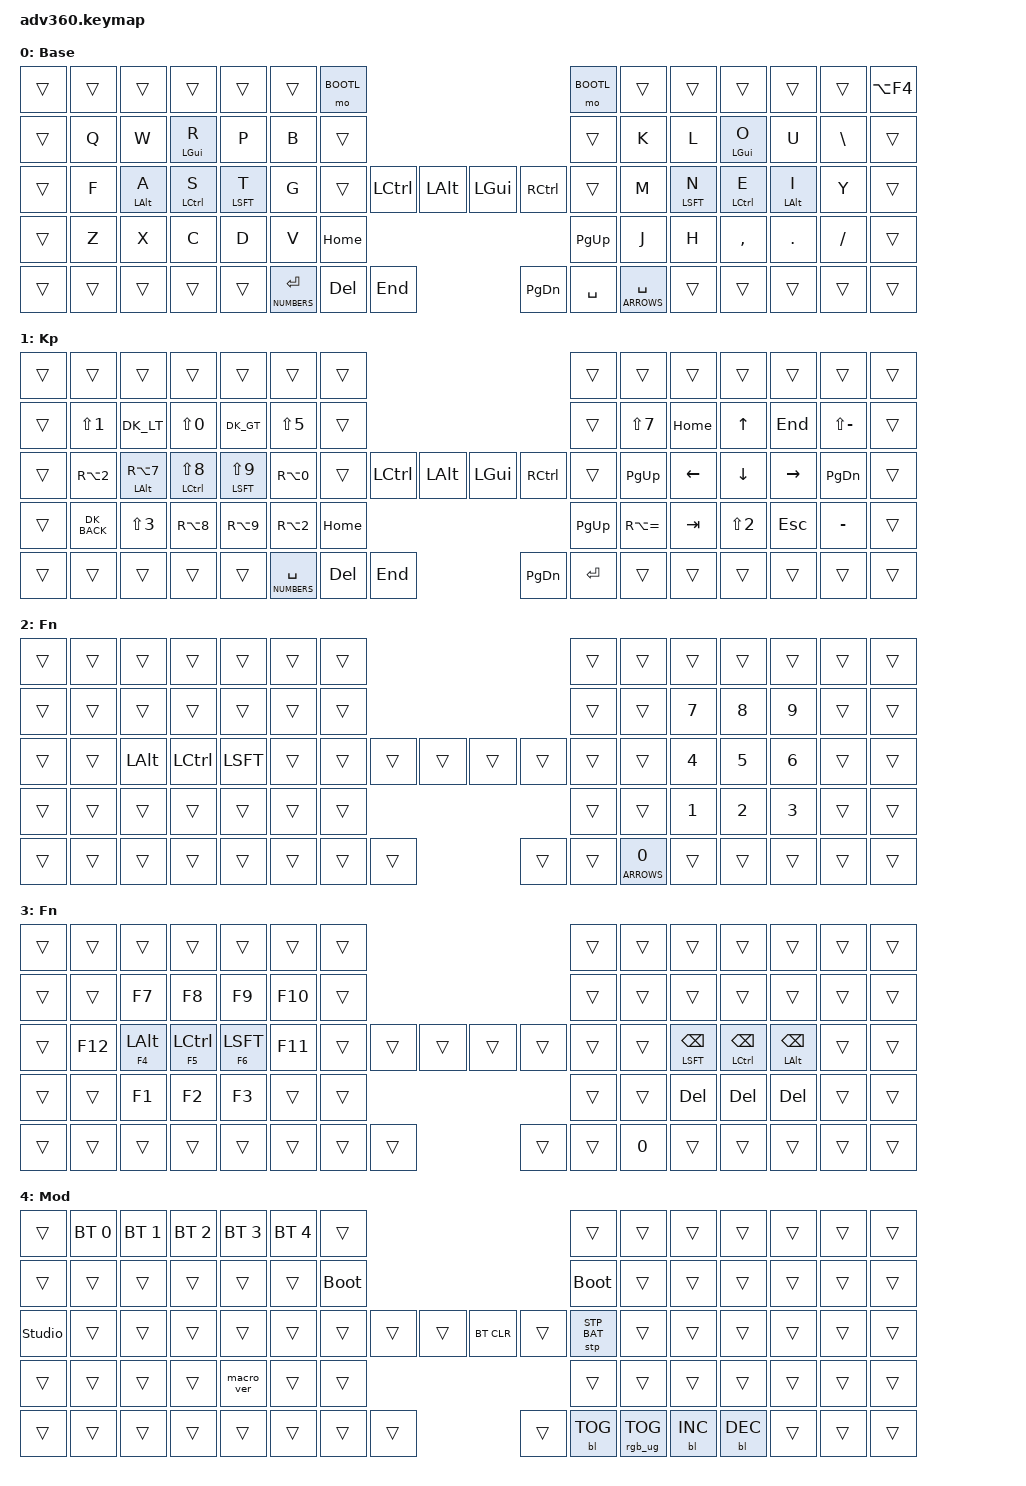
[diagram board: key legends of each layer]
#include <behaviors.dtsi>
#include <dt-bindings/zmk/keys.h>
#include <dt-bindings/zmk/bt.h>
#include <dt-bindings/zmk/rgb.h>
#include <dt-bindings/zmk/stp.h>
#include <dt-bindings/zmk/backlight.h>
#include <dt-bindings/zmk/pointing.h>
#include "aliases.h"

/*

PAR_B
PAR_E
CUR_B
CUR_E
SQB_B
SQB_E 

*/
#define ______ &trans
// BSPC
#define BASE 0
#define ARROWS 1
#define NUMBERS 2 
#define DOUBLE 3 
#define BOOTL 4

/ {
    behaviors {
      #include "macros.dtsi"
      #include "version.dtsi"
      hm: homerow_mods {
          compatible = "zmk,behavior-hold-tap";
          label = "HOMEROW_MODS";
          #binding-cells = <2>;
          tapping-term-ms = <200>;
          quick_tap_ms = <175>;
          flavor = "tap-preferred";
          bindings = <&kp>, <&kp>;
      };

      combos {
        compatible = "zmk,combos";
        combo_j { timeout-ms = <50>; key-positions = <16 17>; bindings = <&kp J>; layers = <0>;};
        combo_v { timeout-ms = <50>; key-positions = <31 32>; bindings = <&kp V>;  layers = <0>;};
        combo_ae { timeout-ms = <50>; key-positions = <23 24>; bindings = <&kp SEMI>; layers = <0>; };
        combo_oe { timeout-ms = <50>; key-positions = <23 25>; bindings = <&kp SQT>;  layers = <0>; };
        combo_aa { timeout-ms = <50>; key-positions = <24 25>; bindings = <&kp LBKT>;  layers = <0>; };
        combo_dash { timeout-ms = <50>; key-positions = <39 40>; bindings = <&kp SLASH>; };
        combo_alt_f4 { timeout-ms = <50>; key-positions = <32 37>; bindings = <&kp LA(F4)>; layers = <0>; };
        combo_excl { timeout-ms = <50>; key-positions = <1 2>; bindings = <&kp LS(N1)>; layers = <1>; };
        combo_question { timeout-ms = <50>; key-positions = <23 24>; bindings = <&kp LS(MINUS)>; layers = <1>; };
      };

      conditional_layers {
        compatible = "zmk,conditional-layers";
        tri_layer {
          if-layers = <1 2>;
          then-layer = <3>;
        };
      };
    };

  keymap {
    compatible = "zmk,keymap";
    default_layer {
      display-name = "Base";
      bindings = <
        ______    ______    ______      ______      ______     ______ &mo BOOTL                                                          &mo BOOTL ______ ______      ______      ______      ______    &kp LA(F4) 
        ______    &kp Q     &kp W       &hm LGUI R  &kp P      &kp B  ______                                                             ______     &kp K  &kp L      &hm LGUI O  &kp U       &kp BSLH  ______
        ______    &kp F     &hm LALT A  &hm LCTL S  &hm LSFT T &kp G  ______           &kp LCTRL &kp LALT &kp LGUI  &kp RCTRL            ______     &kp M  &hm LSFT N &hm LCTL E  &hm LALT I  &kp Y     ______  
        ______    &kp Z     &kp X       &kp C       &kp D      &kp V                            &kp HOME &kp PG_UP                                  &kp J  &kp H      &kp COMMA   &kp DOT     &kp SLASH ______
        ______    ______    ______      ______      ______                &lt NUMBERS ENTER &kp DEL   &kp END  &kp PG_DN &kp SPACE &lt ARROWS SPACE      ______       ______      ______      ______    ______ 
      >;
    };
    
    arrows {
      display-name = "Kp";
      bindings = <
        ______ ______      ______           ______          ______          ______     ______                                                      ______ ______         ______    ______     ______    ______        ______ 
        ______ &kp LS(N1)  &kp DK_LT        &kp LS(N0)      &kp DK_GT       &kp LS(N5) ______                                                      ______ &kp LS(N7)     &kp HOME  &kp UP     &kp END   &kp LS(MINUS) ______ 
        ______ &kp RA(N2)  &hm LALT RA(N7)  &hm LCTL LS(N8) &hm LSFT LS(N9) &kp RA(N0) ______              &kp LCTRL &kp LALT &kp LGUI  &kp RCTRL  ______ &kp PG_UP      &kp LEFT  &kp DOWN   &kp RIGHT &kp PG_DN     ______ 
        ______ &kp DK_BACK &kp LS(N3)       &kp RA(N8)       &kp RA(N9)      &kp RA(N2)                               &kp HOME &kp PG_UP                   &kp RA(EQUAL)  &kp TAB   &kp LS(N2) &kp ESC   &kp MINUS     ______ 
        ______ ______      ______           ______          ______                &lt NUMBERS SPACE &kp DEL   &kp END  &kp PG_DN &kp ENTER ______                        ______    ______     ______    ______        ______        
      >;
    };
    numbers {
      display-name = "Fn";
      bindings = <
        ______ ______ ______    ______    ______    ______  ______                                           ______ ______ ______ ______ ______ ______  ______
        ______ ______ ______    ______    ______    ______  ______                                           ______ ______ &kp N7 &kp N8 &kp N9 ______  ______
        ______ ______ &kp LALT  &kp LCTL  &kp LSFT  ______  ______        ______ ______ ______ ______        ______ ______ &kp N4 &kp N5 &kp N6 ______  ______
        ______ ______ ______    ______    ______    ______                      ______ ______                       ______ &kp N1 &kp N2 &kp N3 ______  ______
        ______ ______ ______    ______    ______               ______ ______ ______ ______ ______ &lt ARROWS N0         ______ ______ ______ ______  ______
      >;
    };
    fkeys {
      display-name = "Fn";
      bindings = <
       ______ ______  ______      ______      ______      ______  ______                                             ______ ______ ______         ______        ______        ______ ______
       ______ ______  &kp F7      &kp F8      &kp F9      &kp F10 ______                                             ______ ______ ______         ______        ______        ______ ______
       ______ &kp F12 &hm F4 LALT &hm F5 LCTL &hm F6 LSFT &kp F11 ______          ______ ______ ______ ______        ______ ______ &hm LSFT BKSP  &hm LCTL BKSP &hm LALT BKSP ______ ______
       ______ ______  &kp F1      &kp F2      &kp F3      ______                        ______ ______                       ______ &kp DEL        &kp DEL       &kp DEL       ______ ______
       ______ ______  ______      ______      ______                   ______ ______ ______ ______ ______ &kp N0                   ______         ______        ______        ______ ______
      >;
    };
    mod {
      display-name = "Mod";
      bindings = <
        ______ &bt BT_SEL 0 &bt BT_SEL 1 &bt BT_SEL 2 &bt BT_SEL 3 &bt BT_SEL 4 ______                                                                     ______                 ______        ______        ______        ______ ______ ______
        ______ ______       ______       ______       ______       ______       &bootloader                                                               &bootloader            ______        ______        ______        ______ ______ ______
        &studio_unlock ______        ______        ______        ______        ______        ______                   ______ ______ &bt BT_CLR ______                      &stp STP_BAT ______        ______        ______        ______ ______ ______
        ______ ______        ______        ______        &macro_ver   ______                                      ______ ______                                                        ______        ______        ______        ______ ______ ______
        ______ ______        ______        ______        ______                                       ______ ______ ______ ______      &bl BL_TOG &rgb_ug RGB_TOG                                     &bl BL_INC   &bl BL_DEC   ______ ______ ______
      >;
    };
    extra1 { 
      display-name = "Red";    
      status = "reserved";
    };

    extra2 { 
      display-name = "Purple";    
      status = "reserved";
    };

    extra3 { 
      display-name = "Cyan";    
      status = "reserved";
    };

    extra4 { 
      display-name = "Yellow";    
      status = "reserved";
    };
  };
};
